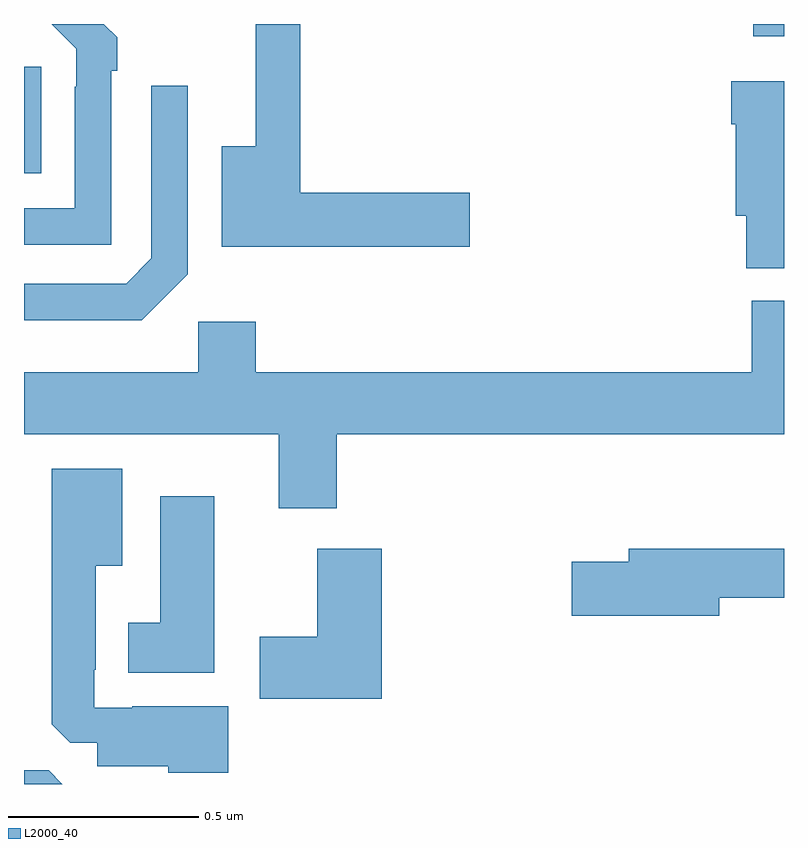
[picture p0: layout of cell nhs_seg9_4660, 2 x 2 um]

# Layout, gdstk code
import gdstk
lib = gdstk.Library(unit=1e-6, precision=1e-09)
def R(c, l, rs):  # rectangles x0, y0, x1, y1
    for r in rs: c.add(gdstk.rectangle(r[:2], r[2:], *l))
def P(c, l, *ps):  # polygons
    for p in ps: c.add(gdstk.Polygon(p, *l))
L2000_40 = (2000, 40)

nhs_seg9_4660 = lib.new_cell('nhs_seg9_4660')
R(nhs_seg9_4660, L2000_40, [(169,1197.107,169.045,1197.388), (170.919,1197.468,171,1197.5)])
P(nhs_seg9_4660, L2000_40, [(170.173,1197.056),(169.727,1197.056),(169.727,1197.5),(169.61,1197.5),(169.61,1197.178),(169.52,1197.178),(169.52,1196.914),(170.173,1196.914)],
  [(169.23,1197.377),(169.245,1197.377),(169.245,1197.465),(169.21,1197.5),(169.073,1197.5),(169.137,1197.435),(169.137,1197.335),(169.134,1197.335),(169.134,1197.015),(169,1197.015),(169,1196.919),(169.23,1196.919)],
  [(171,1197.349),(170.861,1197.349),(170.861,1197.236),(170.873,1197.236),(170.873,1196.996),(170.9,1196.996),(170.9,1196.857),(171,1196.857)],
  [(169.431,1196.841),(169.431,1197.337),(169.335,1197.337),(169.335,1196.883),(169.269,1196.817),(169,1196.817),(169,1196.72),(169.31,1196.72)],
  [(169.823,1196.42),(171,1196.42),(171,1196.772),(170.915,1196.772),(170.915,1196.584),(169.61,1196.584),(169.61,1196.716),(169.458,1196.716),(169.458,1196.584),(169,1196.584),(169,1196.42),(169.67,1196.42),(169.67,1196.226),(169.823,1196.226)],
  [(169.537,1195.705),(169.285,1195.705),(169.285,1195.701),(169.185,1195.701),(169.185,1195.801),(169.189,1195.801),(169.189,1196.075),(169.258,1196.075),(169.258,1196.329),(169.073,1196.329),(169.073,1195.657),(169.122,1195.608),(169.193,1195.608),(169.193,1195.547),(169.38,1195.547),(169.38,1195.529),(169.537,1195.529)],
  [(169.501,1196.257),(169.358,1196.257),(169.358,1195.924),(169.274,1195.924),(169.274,1195.793),(169.501,1195.793)],
  [(169.942,1196.119),(169.772,1196.119),(169.772,1195.887),(169.62,1195.887),(169.62,1195.724),(169.942,1195.724)],
  [(170.83,1195.99),(171,1195.99),(171,1196.119),(170.591,1196.119),(170.591,1196.085),(170.442,1196.085),(170.442,1195.943),(170.83,1195.943)],
  [(169.065,1195.536),(169,1195.536),(169,1195.5),(169.101,1195.5)])

lib.write_gds('nhs_seg9_4660.gds')
